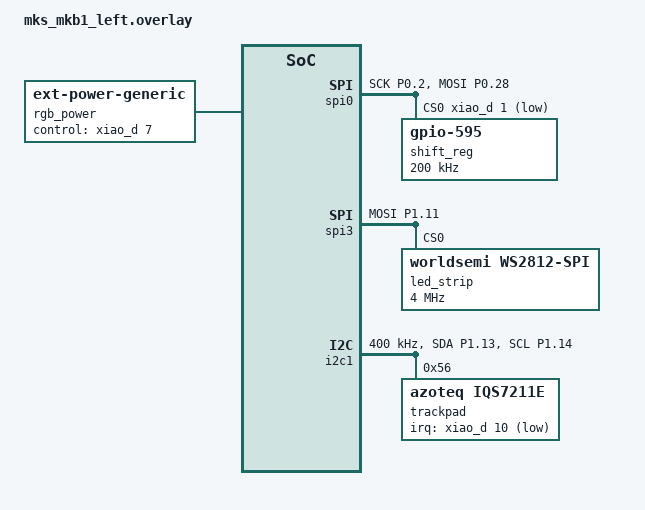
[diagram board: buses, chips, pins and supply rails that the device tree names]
#include <dt-bindings/pinctrl/nrf-pinctrl.h>
#include <dt-bindings/led/led.h>
#include <zephyr/dt-bindings/i2c/i2c.h>
#include "mks_mkb1.dtsi"

&pinctrl {
    spi0_default: spi0_default {
        group1 {
            psels = <NRF_PSEL(SPIM_SCK, 0, 2)>,
                    <NRF_PSEL(SPIM_MOSI, 0, 28)>;
        };
    };

    spi0_sleep: spi0_sleep {
        group1 {
            psels = <NRF_PSEL(SPIM_SCK, 0, 2)>,
                    <NRF_PSEL(SPIM_MOSI, 0, 28)>;
            low-power-enable;
        };
    };

    spi3_default: spi3_default {
        group1 {
            psels = <NRF_PSEL(SPIM_MOSI, 1, 11)>;
        };
    };

    spi3_sleep: spi3_sleep {
        group1 {
            psels = <NRF_PSEL(SPIM_MOSI, 1, 11)>;
            low-power-enable;
        };
    };

    trackpad_i2c1_default: trackpad_i2c1_default {
        group1 {
            psels = <NRF_PSEL(TWIM_SDA, 1, 13)>,
                    <NRF_PSEL(TWIM_SCL, 1, 14)>;
            bias-pull-up;
        };
    };

    trackpad_i2c1_sleep: trackpad_i2c1_sleep {
        group1 {
            psels = <NRF_PSEL(TWIM_SDA, 1, 13)>,
                    <NRF_PSEL(TWIM_SCL, 1, 14)>;
            bias-pull-up;
            low-power-enable;
        };
    };
};

/ {
    chosen {
        zmk,kscan = &kscan0;
        zmk,underglow = &led_strip;
    };

    rgb_power: rgb_power {
        compatible = "zmk,ext-power-generic";
        init-delay-ms = <200>;
        control-gpios = <&xiao_d 7 GPIO_ACTIVE_HIGH>;
    };
};

&spi0 {
    status = "okay";
    pinctrl-0 = <&spi0_default>;
    pinctrl-1 = <&spi0_sleep>;
    pinctrl-names = "default", "sleep";
    cs-gpios = <&xiao_d 1 GPIO_ACTIVE_LOW>;

    shift_reg: 595@0 {
        compatible = "zmk,gpio-595";
        status = "okay";
        reg = <0>;
        spi-max-frequency = <200000>;
        gpio-controller;
        #gpio-cells = <2>;
        ngpios = <8>;
    };
};

&spi3 {
    compatible = "nordic,nrf-spim";
    status = "okay";
    pinctrl-0 = <&spi3_default>;
    pinctrl-1 = <&spi3_sleep>;
    pinctrl-names = "default", "sleep";

    led_strip: ws2812@0 {
        compatible = "worldsemi,ws2812-spi";
        reg = <0>;
        spi-max-frequency = <4000000>;
        chain-length = <1>;
        spi-one-frame = <0x70>;
        spi-zero-frame = <0x40>;
        color-mapping = <LED_COLOR_ID_GREEN
                         LED_COLOR_ID_RED
                         LED_COLOR_ID_BLUE>;
    };
};

&i2c1 {
    compatible = "nordic,nrf-twim";
    status = "okay";
    pinctrl-0 = <&trackpad_i2c1_default>;
    pinctrl-1 = <&trackpad_i2c1_sleep>;
    pinctrl-names = "default", "sleep";
    clock-frequency = <I2C_BITRATE_FAST>;
    zephyr,concat-buf-size = <32>;

    trackpad: trackpad@56 {
        compatible = "azoteq,iqs7211e";
        reg = <0x56>;
        irq-gpios = <&xiao_d 10 (GPIO_ACTIVE_LOW | GPIO_PULL_UP)>;
        status = "okay";
    };
};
